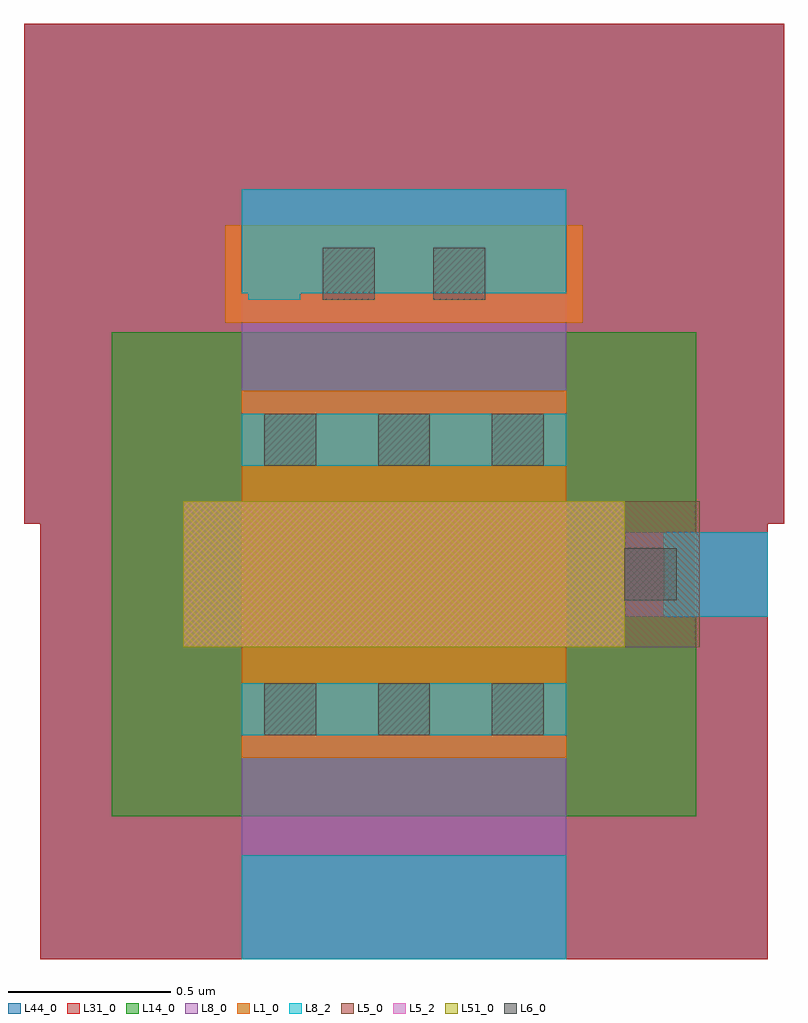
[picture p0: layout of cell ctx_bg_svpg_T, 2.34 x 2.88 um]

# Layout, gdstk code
from math import pi, radians
import gdstk
lib = gdstk.Library(unit=1e-6, precision=1e-09)
def R(c, l, rs):  # rectangles x0, y0, x1, y1
    for r in rs: c.add(gdstk.rectangle(r[:2], r[2:], *l))
def A(c, l, x, y, w, h, nx, ny, dx, dy):  # array of equal rectangles
    R(c, l, [(x+i*dx, y+j*dy, x+i*dx+w, y+j*dy+h) for i in range(nx) for j in range(ny)])
L1_0 = (1, 0)
L5_0 = (5, 0)
L5_2 = (5, 2)
L6_0 = (6, 0)
L8_0 = (8, 0)
L8_2 = (8, 2)
L14_0 = (14, 0)
L31_0 = (31, 0)
L44_0 = (44, 0)
L51_0 = (51, 0)

pmoshv_7 = lib.new_cell('pmosHV$7')
R(pmoshv_7, L1_0, [(0,0,0.3,0.3), (0,0,1.13,1), (0.83,0,1.13,0.3)])
R(pmoshv_7, L5_0, [(0.34,-0.18,0.79,1.18)])
R(pmoshv_7, L5_2, [(0.34,-0.18,0.79,1.18)])
A(pmoshv_7, L6_0, 0.07, 0.07, 0.16, 0.16, 1, 3, 0, 0.35)
A(pmoshv_7, L6_0, 0.9, 0.07, 0.16, 0.16, 1, 3, 0, 0.35)
R(pmoshv_7, L8_0, [(0.07,0,0.23,1), (0.9,0,1.06,1)])
R(pmoshv_7, L8_2, [(0.07,0,0.23,1), (0.9,0,1.06,1)])
R(pmoshv_7, L14_0, [(-0.18,-0.4,1.31,1.4)])
R(pmoshv_7, L31_0, [(-0.62,-0.62,1.75,1.62)])
R(pmoshv_7, L44_0, [(-0.62,-0.62,1.75,1.62)])
R(pmoshv_7, L51_0, [(0.34,-0.18,0.79,1.18)])
pmoshv_7.add(gdstk.Label('pmosHV', (0.565,0.5), layer=63, texttype=0))
pmoshv_7.add(gdstk.Label('pmos', (0.565,0.5), layer=51, texttype=0))

bg_svpg = lib.new_cell('bg_svpg')
R(bg_svpg, L5_0, [(1,0.34,1.41,0.79)])
R(bg_svpg, L6_0, [(1.18,0.485,1.34,0.645)])
R(bg_svpg, L8_0, [(0,-0.62,1,0.23), (1.18,0.435,1.62,0.695), (0,0.9,1,1.75)])
R(bg_svpg, L8_2, [(0,-0.62,1,-0.3), (1.3,0.435,1.62,0.695), (0,1.43,1,1.75)])
R(bg_svpg, L31_0, [(-0.62,-0.62,1.62,1.75)])
R(bg_svpg, L44_0, [(-0.62,-0.62,1.62,1.75)])
bg_svpg.add(gdstk.Reference(pmoshv_7, (0,1.13), rotation=3*pi/2))
bg_svpg.add(gdstk.Label('SVPG', (0.5,0.565), layer=63, texttype=0))
bg_svpg.add(gdstk.Label('en_3v3', (1.46,0.565), layer=8, texttype=25))
bg_svpg.add(gdstk.Label('vdd', (0.5,1.59), layer=8, texttype=25))
bg_svpg.add(gdstk.Label('vpg', (0.5,-0.46), layer=8, texttype=25))

ctx_bg_svpg_t_tap0 = lib.new_cell('ctx_bg_svpg_T_tap0')
R(ctx_bg_svpg_t_tap0, L1_0, [(-0.05,1.34,1.05,1.64)])
R(ctx_bg_svpg_t_tap0, L6_0, [(0.25,1.41,0.41,1.57), (0.59,1.41,0.75,1.57)])
R(ctx_bg_svpg_t_tap0, L8_0, [(0.02,1.41,0.98,1.57)])
R(ctx_bg_svpg_t_tap0, L8_2, [(0.02,1.41,0.18,1.57)])
R(ctx_bg_svpg_t_tap0, L31_0, [(-0.67,0.72,1.67,2.26)])
R(ctx_bg_svpg_t_tap0, L44_0, [(-0.67,0.72,1.67,2.26)])
ctx_bg_svpg_t_tap0.add(gdstk.Label('vdd', (0.1,1.49), layer=8, texttype=25))

ctx_bg_svpg_t = lib.new_cell('ctx_bg_svpg_T')
ctx_bg_svpg_t.add(gdstk.Reference(bg_svpg, (0,0)))
ctx_bg_svpg_t.add(gdstk.Reference(ctx_bg_svpg_t_tap0, (0,0)))

lib.write_gds('ctx_bg_svpg_T.gds')
